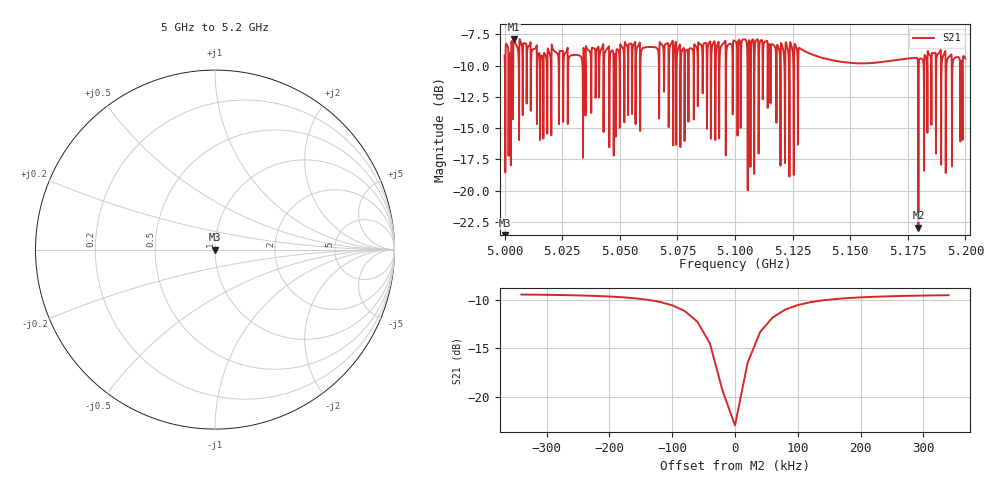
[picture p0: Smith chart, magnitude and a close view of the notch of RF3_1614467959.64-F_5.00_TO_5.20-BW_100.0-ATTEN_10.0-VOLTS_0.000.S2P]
!Keysight Technologies,E5063A,MY54502693,A.05.04
!Date: Sat Feb 27 16:19:38 2021
!Data & Calibration Information:
!Freq	S11:NONE(--)	S21:NONE(--)	S12:NONE(--)	S22:NONE(--)
# Hz S RI R 50
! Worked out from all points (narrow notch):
!   10000 points, 5 GHz to 5.2 GHz, reference 50 ohm
!   highest |S21| = -7.88 dB at 5.0039 GHz (marker M1); lowest = -23.0 dB at 5.1796 GHz (marker M2)
!   notch at M2: 14.0 dB deep, 57.2 kHz wide at half that depth
!   lowest |S11| = - dB at 5 GHz (marker M3), VSWR 1.00, Z = 50 + j0 ohm
!   |S11| at or under -10 dB: start of sweep to end of sweep
!   S12 and S22 are empty: the file has one direction only
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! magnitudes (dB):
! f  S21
! 5 GHz  -9.2
! 5.0027 GHz  -17.0
! 5.0039 GHz  -7.9
! 5.0333 GHz  -9.4
! 5.0362 GHz  -8.7
! 5.0667 GHz  -8.8
! 5.0772 GHz  -8.7
! 5.0849 GHz  -8.3
! 5.0923 GHz  -8.3
! 5.0949 GHz  -8.2
! 5.1 GHz  -8.0
! 5.1018 GHz  -7.9
! 5.1042 GHz  -7.9
! 5.1061 GHz  -8.0
! 5.1132 GHz  -8.1
! 5.1227 GHz  -8.5
! 5.1334 GHz  -9.1
! 5.1667 GHz  -9.6
! 5.1796 GHz  -23.0
! 5.1884 GHz  -9.0
! 5.198 GHz  -10.0
! 5.2 GHz  -9.4
